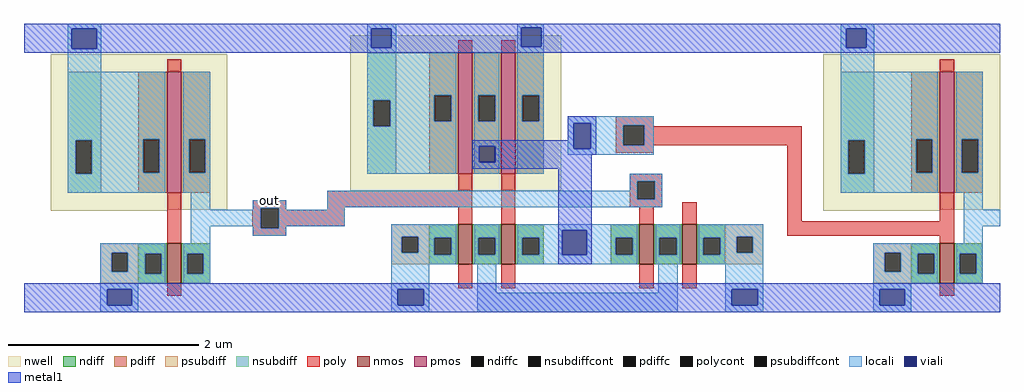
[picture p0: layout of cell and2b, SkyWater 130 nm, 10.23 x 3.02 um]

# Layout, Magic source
magic
tech sky130A
<< nwell >>
rect -147 72 38 235
rect 167 92 388 255
rect 663 72 848 235
rect -147 71 -25 72
rect 663 71 785 72
<< nmos >>
rect -25 -5 -10 37
rect 280 15 295 57
rect 325 15 340 57
rect 470 15 485 57
rect 515 15 530 57
rect 785 -5 800 37
<< pmos >>
rect -25 90 -10 217
rect 280 110 295 237
rect 325 110 340 237
rect 785 90 800 217
<< ndiff >>
rect -55 26 -25 37
rect -55 5 -48 26
rect -31 5 -25 26
rect -55 -5 -25 5
rect -10 26 20 37
rect -10 5 -4 26
rect 13 5 20 26
rect 250 43 280 57
rect 250 25 255 43
rect 273 25 280 43
rect 250 15 280 25
rect 295 43 325 57
rect 295 25 301 43
rect 319 25 325 43
rect 295 15 325 25
rect 340 43 370 57
rect 340 25 347 43
rect 365 25 370 43
rect 340 15 370 25
rect 440 43 470 57
rect 440 25 445 43
rect 463 25 470 43
rect 440 15 470 25
rect 485 43 515 57
rect 485 25 491 43
rect 509 25 515 43
rect 485 15 515 25
rect 530 43 560 57
rect 530 25 537 43
rect 555 25 560 43
rect 530 15 560 25
rect -10 -5 20 5
rect 755 26 785 37
rect 755 5 762 26
rect 779 5 785 26
rect 755 -5 785 5
rect 800 26 830 37
rect 800 5 806 26
rect 823 5 830 26
rect 800 -5 830 5
<< pdiff >>
rect -55 146 -25 217
rect -55 111 -50 146
rect -33 111 -25 146
rect -55 90 -25 111
rect -10 146 20 217
rect -10 111 -2 146
rect 15 111 20 146
rect -10 90 20 111
rect 250 192 280 237
rect 250 165 255 192
rect 273 165 280 192
rect 250 110 280 165
rect 295 192 325 237
rect 295 165 301 192
rect 319 165 325 192
rect 295 110 325 165
rect 340 192 370 237
rect 340 165 347 192
rect 365 165 370 192
rect 340 110 370 165
rect 755 146 785 217
rect 755 111 760 146
rect 777 111 785 146
rect 755 90 785 111
rect 800 146 830 217
rect 800 111 808 146
rect 825 111 830 146
rect 800 90 830 111
<< ndiffc >>
rect -48 5 -31 26
rect -4 5 13 26
rect 255 25 273 43
rect 301 25 319 43
rect 347 25 365 43
rect 445 25 463 43
rect 491 25 509 43
rect 537 25 555 43
rect 762 5 779 26
rect 806 5 823 26
<< pdiffc >>
rect -50 111 -33 146
rect -2 111 15 146
rect 255 165 273 192
rect 301 165 319 192
rect 347 165 365 192
rect 760 111 777 146
rect 808 111 825 146
<< psubdiff >>
rect 210 44 250 57
rect -95 27 -55 37
rect -95 7 -83 27
rect -66 7 -55 27
rect -95 -5 -55 7
rect 210 27 221 44
rect 238 27 250 44
rect 210 15 250 27
rect 560 44 600 57
rect 560 27 572 44
rect 589 27 600 44
rect 560 15 600 27
rect 715 27 755 37
rect 715 7 727 27
rect 744 7 755 27
rect 715 -5 755 7
<< nsubdiff >>
rect -129 145 -94 217
rect -129 110 -121 145
rect -104 110 -94 145
rect -129 90 -94 110
rect 185 187 215 237
rect 185 160 191 187
rect 209 160 215 187
rect 185 110 215 160
rect 681 145 716 217
rect 681 110 689 145
rect 706 110 716 145
rect 681 90 716 110
<< psubdiffcont >>
rect -83 7 -66 27
rect 221 27 238 44
rect 572 27 589 44
rect 727 7 744 27
<< nsubdiffcont >>
rect -121 110 -104 145
rect 191 160 209 187
rect 689 110 706 145
<< poly >>
rect 280 237 295 250
rect 325 237 340 250
rect -25 217 -10 230
rect 785 217 800 230
rect 445 161 485 170
rect 445 140 453 161
rect 475 160 485 161
rect 475 140 640 160
rect 445 132 485 140
rect 280 92 295 110
rect -25 37 -10 90
rect 65 74 100 82
rect 65 72 73 74
rect 64 55 73 72
rect 65 53 73 55
rect 92 72 100 74
rect 143 75 295 92
rect 143 72 161 75
rect 92 55 161 72
rect 280 57 295 75
rect 325 57 340 110
rect 460 102 494 110
rect 460 83 468 102
rect 486 83 494 102
rect 460 75 494 83
rect 470 57 485 75
rect 515 57 530 80
rect 625 60 640 140
rect 785 60 800 90
rect 92 53 100 55
rect 65 45 100 53
rect 625 45 800 60
rect 785 37 800 45
rect -25 -18 -10 -5
rect 280 -10 295 15
rect 325 -10 340 15
rect 470 -10 485 15
rect 515 -10 530 15
rect 785 -18 800 -5
<< polycont >>
rect 453 140 475 161
rect 73 53 92 74
rect 468 83 486 102
<< locali >>
rect -129 262 -94 267
rect -129 241 -125 262
rect -99 241 -94 262
rect -129 217 -94 241
rect 185 262 215 267
rect 185 242 189 262
rect 210 242 215 262
rect 185 237 215 242
rect 342 263 370 267
rect 342 243 346 263
rect 367 243 370 263
rect -129 146 -27 217
rect -129 145 -50 146
rect -129 110 -121 145
rect -104 111 -50 145
rect -33 111 -27 146
rect -104 110 -27 111
rect -129 90 -27 110
rect -8 146 20 217
rect -8 111 -2 146
rect 15 111 20 146
rect -8 90 20 111
rect 185 192 278 237
rect 185 187 255 192
rect 185 160 191 187
rect 209 165 255 187
rect 273 165 278 192
rect 209 160 278 165
rect 185 110 278 160
rect 297 192 323 237
rect 297 165 301 192
rect 319 165 323 192
rect 297 139 323 165
rect 297 122 302 139
rect 319 122 323 139
rect 297 110 323 122
rect 342 192 370 243
rect 342 165 347 192
rect 365 165 370 192
rect 681 262 716 267
rect 681 242 687 262
rect 708 242 716 262
rect 681 217 716 242
rect 342 110 370 165
rect 395 163 485 170
rect 395 136 401 163
rect 419 161 485 163
rect 419 140 453 161
rect 475 140 485 161
rect 419 136 485 140
rect 395 130 485 136
rect 681 146 783 217
rect 681 145 760 146
rect 681 110 689 145
rect 706 111 760 145
rect 777 111 783 146
rect 706 110 783 111
rect 460 102 494 110
rect 460 92 468 102
rect 0 72 20 90
rect 143 83 468 92
rect 486 83 494 102
rect 681 90 783 110
rect 802 146 830 217
rect 802 111 808 146
rect 825 111 830 146
rect 802 90 830 111
rect 65 74 100 82
rect 65 72 73 74
rect 0 55 73 72
rect 0 37 20 55
rect 65 53 73 55
rect 92 72 100 74
rect 143 75 494 83
rect 143 72 161 75
rect 92 55 161 72
rect 810 72 830 90
rect 92 53 100 55
rect 65 45 100 53
rect -95 27 -27 37
rect -95 7 -83 27
rect -66 26 -27 27
rect -66 7 -48 26
rect -95 5 -48 7
rect -31 5 -27 26
rect -95 -5 -27 5
rect -8 26 20 37
rect -8 5 -4 26
rect 13 5 20 26
rect -8 -5 20 5
rect 210 44 278 57
rect 210 27 221 44
rect 238 43 278 44
rect 238 27 255 43
rect 210 25 255 27
rect 273 25 278 43
rect 210 15 278 25
rect 297 43 323 57
rect 297 25 301 43
rect 319 25 323 43
rect 297 15 323 25
rect 342 51 468 57
rect 342 43 389 51
rect 342 25 347 43
rect 365 25 389 43
rect 415 43 468 51
rect 415 25 445 43
rect 463 25 468 43
rect 342 15 468 25
rect 487 43 513 57
rect 487 25 491 43
rect 509 25 513 43
rect 487 15 513 25
rect 532 44 600 57
rect 532 43 572 44
rect 532 25 537 43
rect 555 27 572 43
rect 589 27 600 44
rect 810 55 848 72
rect 810 37 830 55
rect 555 25 600 27
rect 532 15 600 25
rect -95 -11 -55 -5
rect -95 -28 -88 -11
rect -62 -28 -55 -11
rect -95 -35 -55 -28
rect 210 -11 250 15
rect 210 -28 217 -11
rect 244 -28 250 -11
rect 210 -35 250 -28
rect 300 -15 320 15
rect 490 -15 510 15
rect 300 -35 510 -15
rect 560 -11 600 15
rect 560 -28 567 -11
rect 594 -28 600 -11
rect 560 -35 600 -28
rect 715 27 783 37
rect 715 7 727 27
rect 744 26 783 27
rect 744 7 762 26
rect 715 5 762 7
rect 779 5 783 26
rect 715 -5 783 5
rect 802 26 830 37
rect 802 5 806 26
rect 823 5 830 26
rect 802 -5 830 5
rect 715 -11 755 -5
rect 715 -28 722 -11
rect 748 -28 755 -11
rect 715 -35 755 -28
<< viali >>
rect -125 241 -99 262
rect 189 242 210 262
rect 346 243 367 263
rect 302 122 319 139
rect 687 242 708 262
rect 401 136 419 163
rect 389 25 415 51
rect -88 -28 -62 -11
rect 217 -28 244 -11
rect 567 -28 594 -11
rect 722 -28 748 -11
<< metal1 >>
rect -175 263 848 267
rect -175 262 346 263
rect -175 241 -125 262
rect -99 242 189 262
rect 210 243 346 262
rect 367 262 848 263
rect 367 243 687 262
rect 210 242 687 243
rect 708 242 848 262
rect -99 241 848 242
rect -175 237 848 241
rect 395 163 425 170
rect 395 145 401 163
rect 295 139 401 145
rect 295 122 302 139
rect 319 136 401 139
rect 419 136 425 163
rect 319 130 425 136
rect 319 122 420 130
rect 295 115 420 122
rect 385 51 420 115
rect 385 25 389 51
rect 415 25 420 51
rect 385 15 420 25
rect -175 -11 848 -5
rect -175 -28 -88 -11
rect -62 -28 217 -11
rect 244 -28 567 -11
rect 594 -28 722 -11
rect 748 -28 848 -11
rect -175 -35 848 -28
<< labels >>
rlabel locali 82 82 82 82 7 out
<< end >>
